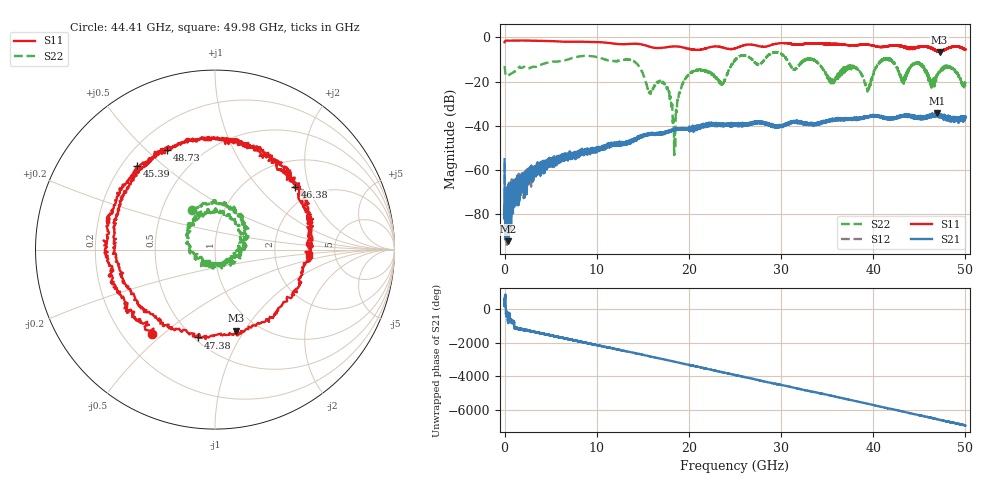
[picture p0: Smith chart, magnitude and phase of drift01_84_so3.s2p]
!Created with skrf (http://scikit-rf.org).
# Hz S RI R 50.0
!freq ReS11 ImS11 ReS21 ImS21 ReS12 ImS12 ReS22 ImS22
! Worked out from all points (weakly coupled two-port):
!   10001 points, 300 kHz to 50 GHz, reference 50 ohm
!   highest |S21| = -34.45 dB at 46.93 GHz (marker M1); lowest = -92.6 dB at 395.3 MHz (marker M2)
!   lowest |S11| = -6.6 dB at 47.2 GHz (marker M3), VSWR 2.75, Z = 39.9 - j46.1 ohm
!   |S11| at or under -10 dB: nowhere
!   |S22| runs from -53.4 to -6.6 dB; largest |S21 - S12| = 0.0038
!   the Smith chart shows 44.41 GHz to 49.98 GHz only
!   S11 on the Smith chart (normalised r, x): 44.41 GHz: 0.32, -0.46; 45.39 GHz: 0.26, +0.41; 46.38 GHz: 1.57, +1.63; 47.38 GHz: 0.52, -0.68; 48.73 GHz: 0.32, +0.58; 49.98 GHz: 3.19, -0.28
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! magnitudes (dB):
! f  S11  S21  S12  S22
! 300 kHz  -2.1  -55.3  -57.0  -12.9
! 395.3 MHz  -1.4  -92.6  -78.0  -17.2
! 8.335 GHz  -1.9  -52.8  -51.4  -8.5
! 16.67 GHz  -4.8  -43.8  -43.5  -20.0
! 17.74 GHz  -4.3  -42.7  -42.7  -24.5
! 18.45 GHz  -4.1  -41.8  -42.1  -44.2
! 19.95 GHz  -5.1  -41.6  -41.3  -17.0
! 23.63 GHz  -4.5  -39.0  -39.4  -20.8
! 25 GHz  -5.0  -40.1  -39.6  -10.3
! 33.34 GHz  -2.6  -39.2  -39.6  -9.9
! 39.43 GHz  -3.3  -36.0  -35.8  -23.6
! 41.67 GHz  -3.9  -36.6  -36.8  -10.1
! 43.19 GHz  -4.0  -35.8  -35.6  -19.7
! 44.41 GHz  -4.6  -36.2  -36.1  -12.0
! 45.39 GHz  -3.9  -36.5  -36.3  -13.8
! 46.38 GHz  -4.9  -35.5  -35.7  -20.2
! 46.93 GHz  -6.3  -34.5  -35.1  -16.8
! 47.2 GHz  -6.6  -35.8  -34.8  -15.6
! 47.38 GHz  -6.0  -35.7  -35.2  -14.4
! 48.73 GHz  -4.2  -37.5  -37.1  -14.7
! 49.98 GHz  -5.6  -36.2  -36.6  -21.1
! 50 GHz  -5.4  -35.8  -37.3  -21.9
